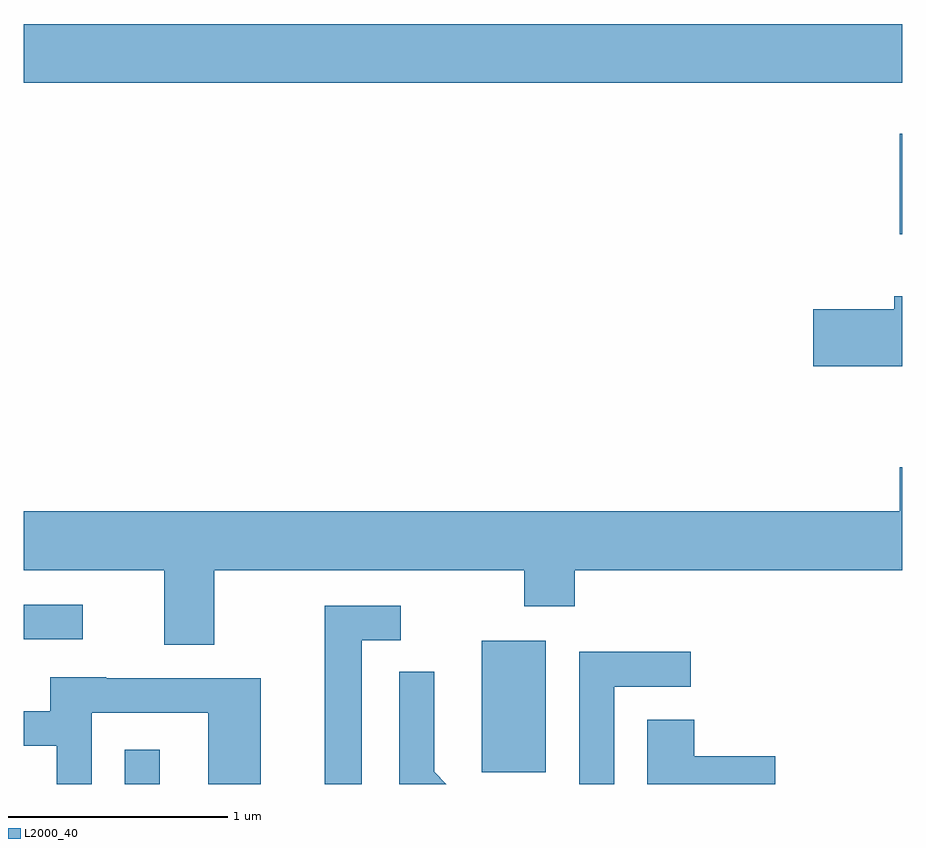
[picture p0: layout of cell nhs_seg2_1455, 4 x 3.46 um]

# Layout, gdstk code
import gdstk
lib = gdstk.Library(unit=1e-6, precision=1e-09)
def R(c, l, rs):  # rectangles x0, y0, x1, y1
    for r in rs: c.add(gdstk.rectangle(r[:2], r[2:], *l))
def P(c, l, *ps):  # polygons
    for p in ps: c.add(gdstk.Polygon(p, *l))
L2000_40 = (2000, 40)

nhs_seg2_1455 = lib.new_cell('nhs_seg2_1455')
R(nhs_seg2_1455, L2000_40, [(228.071,1031.802,228.229,1031.958), (229.696,1031.856,229.989,1032.454), (227.611,1032.461,227.878,1032.619), (231.601,1034.306,231.611,1034.764), (227.611,1034.996,231.611,1035.264)])
P(nhs_seg2_1455, L2000_40, [(231.611,1034.024),(231.576,1034.024),(231.576,1033.964),(231.206,1033.964),(231.206,1033.706),(231.611,1033.706)],
  [(228.479,1032.776),(229.891,1032.776),(229.891,1032.611),(230.119,1032.611),(230.119,1032.776),(231.611,1032.776),(231.611,1033.244),(231.601,1033.244),(231.601,1033.044),(227.611,1033.044),(227.611,1032.776),(228.251,1032.776),(228.251,1032.436),(228.479,1032.436)],
  [(229.149,1032.456),(229.328,1032.456),(229.328,1032.614),(228.981,1032.614),(228.981,1031.802),(229.149,1031.802)],
  [(230.299,1032.246),(230.648,1032.246),(230.648,1032.404),(230.141,1032.404),(230.141,1031.802),(230.299,1031.802)],
  [(229.479,1031.857),(229.479,1032.313),(229.321,1032.313),(229.321,1031.802),(229.534,1031.802)],
  [(227.919,1032.126),(228.451,1032.126),(228.451,1031.802),(228.689,1031.802),(228.689,1032.284),(227.985,1032.284),(227.985,1032.289),(227.731,1032.289),(227.731,1032.134),(227.611,1032.134),(227.611,1031.976),(227.761,1031.976),(227.761,1031.802),(227.919,1031.802)],
  [(231.034,1031.929),(230.664,1031.929),(230.664,1032.094),(230.451,1032.094),(230.451,1031.802),(231.034,1031.802)])

lib.write_gds('nhs_seg2_1455.gds')
